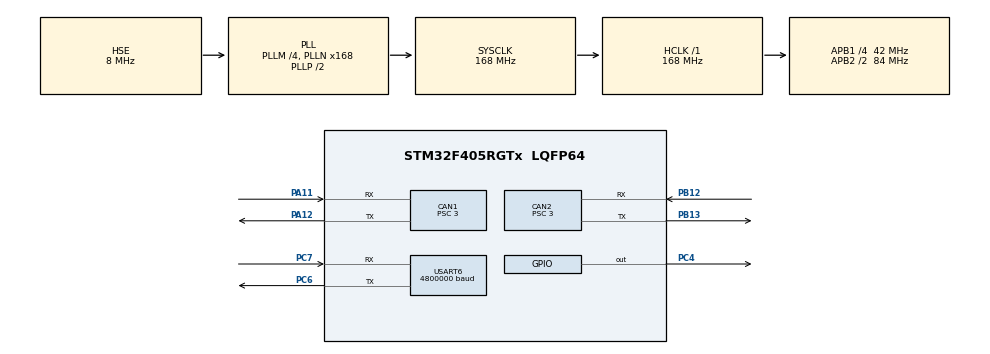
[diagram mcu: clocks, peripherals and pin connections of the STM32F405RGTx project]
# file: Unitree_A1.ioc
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CAN1.ABOM=ENABLE
CAN1.BS1=CAN_BS1_10TQ
CAN1.BS2=CAN_BS2_3TQ
CAN1.CalculateTimeQuantum=71.42857142857143
CAN1.Prescaler=3
CAN2.BS1=CAN_BS1_9TQ
CAN2.BS2=CAN_BS2_4TQ
CAN2.CalculateTimeQuantum=71.42857142857143
CAN2.Prescaler=3
Dma.Request0=USART6_RX
Dma.USART6_RX.0.Direction=DMA_PERIPH_TO_MEMORY
Dma.USART6_RX.0.FIFOMode=DMA_FIFOMODE_DISABLE
Dma.USART6_RX.0.Instance=DMA2_Stream1
Dma.USART6_RX.0.MemDataAlignment=DMA_MDATAALIGN_BYTE
Dma.USART6_RX.0.MemInc=DMA_MINC_ENABLE
Dma.USART6_RX.0.Mode=DMA_CIRCULAR
Dma.USART6_RX.0.PeriphDataAlignment=DMA_PDATAALIGN_BYTE
Dma.USART6_RX.0.PeriphInc=DMA_PINC_DISABLE
Dma.USART6_RX.0.Priority=DMA_PRIORITY_VERY_HIGH
Mcu.Family=STM32F4
Mcu.Name=STM32F405RGTx
Mcu.Package=LQFP64
NVIC.CAN1_RX0_IRQn=true\:0\:0\:false\:false\:true\:true\:true\:true
NVIC.CAN1_RX1_IRQn=true\:0\:0\:false\:false\:true\:true\:true\:true
NVIC.CAN1_SCE_IRQn=true\:0\:0\:false\:false\:true\:true\:true\:true
NVIC.CAN1_TX_IRQn=true\:0\:0\:false\:false\:true\:true\:true\:true
NVIC.CAN2_RX0_IRQn=true\:0\:0\:false\:false\:true\:true\:true\:true
NVIC.CAN2_RX1_IRQn=true\:0\:0\:false\:false\:true\:true\:true\:true
NVIC.CAN2_SCE_IRQn=true\:0\:0\:false\:false\:true\:true\:true\:true
NVIC.CAN2_TX_IRQn=true\:0\:0\:false\:false\:true\:true\:true\:true
NVIC.DMA2_Stream1_IRQn=true\:0\:0\:false\:false\:true\:false\:true\:true
NVIC.PriorityGroup=NVIC_PRIORITYGROUP_4
NVIC.TIM6_DAC_IRQn=true\:0\:0\:false\:false\:true\:true\:true\:true
NVIC.USART6_IRQn=true\:0\:0\:false\:false\:true\:true\:true\:true
PA11.Mode=Master
PA11.Signal=CAN1_RX
PA12.Mode=Master
PA12.Signal=CAN1_TX
PA13.Mode=Serial_Wire
PA13.Signal=SYS_JTMS-SWDIO
PA14.Mode=Serial_Wire
PA14.Signal=SYS_JTCK-SWCLK
PB10.Signal=USART3_TX
PB12.Mode=Slave
PB12.Signal=CAN2_RX
PB13.Mode=Slave
PB13.Signal=CAN2_TX
PC4.GPIO_Speed=GPIO_SPEED_FREQ_HIGH
PC4.Signal=GPIO_Output
PC6.Mode=Asynchronous
PC6.Signal=USART6_TX
PC7.Mode=Asynchronous
PC7.Signal=USART6_RX
PH0-OSC_IN.Mode=HSE-External-Oscillator
PH0-OSC_IN.Signal=RCC_OSC_IN
PH1-OSC_OUT.Mode=HSE-External-Oscillator
PH1-OSC_OUT.Signal=RCC_OSC_OUT
ProjectManager.HeapSize=0x200
ProjectManager.StackSize=0x400
ProjectManager.TargetToolchain=CMake
RCC.48MHZClocksFreq_Value=84000000
RCC.AHBFreq_Value=168000000
RCC.APB1CLKDivider=RCC_HCLK_DIV4
RCC.APB1Freq_Value=42000000
RCC.APB1TimFreq_Value=84000000
RCC.APB2CLKDivider=RCC_HCLK_DIV2
RCC.APB2Freq_Value=84000000
RCC.APB2TimFreq_Value=168000000
RCC.CortexFreq_Value=168000000
RCC.HCLKFreq_Value=168000000
RCC.HSE_VALUE=8000000
RCC.HSI_VALUE=16000000
RCC.LSE_VALUE=32768
RCC.PLLM=4
RCC.PLLN=168
RCC.PLLSourceVirtual=RCC_PLLSOURCE_HSE
RCC.SYSCLKFreq_VALUE=168000000
RCC.SYSCLKSource=RCC_SYSCLKSOURCE_PLLCLK
RCC.VCOOutputFreq_Value=336000000
TIM6.Period=4999
TIM6.Prescaler=83
USART6.BaudRate=4800000
USART6.VirtualMode=VM_ASYNC
VP_TIM6_VS_ClockSourceINT.Mode=Enable_Timer
board=custom

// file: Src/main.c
/* USER CODE BEGIN Header */
/**
 ******************************************************************************
 * @file           : main.c
 * @brief          : Main program body
 ******************************************************************************
 * @attention
 *
 * <h2><center>&copy; Copyright (c) 2026 STMicroelectronics.
 * All rights reserved.</center></h2>
 *
 * This software component is licensed by ST under BSD 3-Clause license,
 * the "License"; You may not use this file except in compliance with the
 * License. You may obtain a copy of the License at:
 *                        opensource.org/licenses/BSD-3-Clause
 *
 ******************************************************************************
 */
/* USER CODE END Header */

#include "main.h"
#include "can.h"
#include "dma.h"
#include "tim.h"
#include "usart.h"
#include "gpio.h"

/* USER CODE BEGIN Includes */
#include "unitree_motor.h"
/* USER CODE END Includes */

/* USER CODE BEGIN PV */
MotorCmd cmd;
/* USER CODE END PV */

void SystemClock_Config(void);

int main(void)
{
  /* USER CODE BEGIN 1 */
  HAL_RCC_DeInit();

  /* USER CODE END 1 */

  /* MCU Configuration--------------------------------------------------------*/

  /* Reset of all peripherals, Initializes the Flash interface and the Systick. */
  HAL_Init();

  /* Configure the system clock */
  SystemClock_Config();

  /* Initialize all configured peripherals */
  MX_GPIO_Init();
  MX_DMA_Init();
  MX_CAN1_Init();
  MX_CAN2_Init();
  MX_USART6_UART_Init();
  MX_TIM6_Init();
  HAL_TIM_Base_Start_IT(&htim6);
  /* USER CODE BEGIN 2 */
  Unitree_Init(&huart6);

  // 模拟 SDK 对象定义

  cmd.motorType = MotorType_A1;
  cmd.id = 2;               // 目标电机 ID
  cmd.mode = MotorMode_FOC; // 闭环 FOC 模式
  // cmd.tau = 0.0f;
  // cmd.dq = -3.14*queryGearRatio(MotorType_A1);
  // cmd.q = 0;
  // cmd.kp = 0.0f;
  // cmd.kd = 2.0f;

  // cmd.kp    = 0.1;
  // cmd.kd    = 2;
  // cmd.q     = 3*6.28*queryGearRatio(MotorType_A1);
  // cmd.dq    = -3.14*queryGearRatio(MotorType_A1);
  // cmd.tau   = 0.0f;

  cmd.tau = 0.0f;
  cmd.dq = 0;
  cmd.q = 0;
  cmd.kp = 0.0f;
  cmd.kd = 0.0f;
  Unitree_SendCmd(&cmd);
  // 发送指令 (只调用这一个函数)

  /* USER CODE END 2 */

  /* Infinite loop */
  while (1) {

  }
}

void SystemClock_Config(void)
{
  RCC_OscInitTypeDef RCC_OscInitStruct = {0};
  RCC_ClkInitTypeDef RCC_ClkInitStruct = {0};

  /** Configure the main internal regulator output voltage
  */
  __HAL_RCC_PWR_CLK_ENABLE();
  __HAL_PWR_VOLTAGESCALING_CONFIG(PWR_REGULATOR_VOLTAGE_SCALE1);
  /** Initializes the CPU, AHB and APB busses clocks
  */
  RCC_OscInitStruct.OscillatorType = RCC_OSCILLATORTYPE_HSE;
  RCC_OscInitStruct.HSEState = RCC_HSE_ON;
  RCC_OscInitStruct.PLL.PLLState = RCC_PLL_ON;
  RCC_OscInitStruct.PLL.PLLSource = RCC_PLLSOURCE_HSE;
  RCC_OscInitStruct.PLL.PLLM = 4;
  RCC_OscInitStruct.PLL.PLLN = 168;
  RCC_OscInitStruct.PLL.PLLP = RCC_PLLP_DIV2;
  RCC_OscInitStruct.PLL.PLLQ = 4;
  if (HAL_RCC_OscConfig(&RCC_OscInitStruct) != HAL_OK)
  {
    Error_Handler();
  }
  /** Initializes the CPU, AHB and APB busses clocks
  */
  RCC_ClkInitStruct.ClockType = RCC_CLOCKTYPE_HCLK|RCC_CLOCKTYPE_SYSCLK
                              |RCC_CLOCKTYPE_PCLK1|RCC_CLOCKTYPE_PCLK2;
  RCC_ClkInitStruct.SYSCLKSource = RCC_SYSCLKSOURCE_PLLCLK;
  RCC_ClkInitStruct.AHBCLKDivider = RCC_SYSCLK_DIV1;
  RCC_ClkInitStruct.APB1CLKDivider = RCC_HCLK_DIV4;
  RCC_ClkInitStruct.APB2CLKDivider = RCC_HCLK_DIV2;

  if (HAL_RCC_ClockConfig(&RCC_ClkInitStruct, FLASH_LATENCY_5) != HAL_OK)
  {
    Error_Handler();
  }
}

void Error_Handler(void)
{
}

#ifdef  USE_FULL_ASSERT
/**
  * @brief  Reports the name of the source file and the source line number
  *         where the assert_param error has occurred.
  * @param  file: pointer to the source file name
  * @param  line: assert_param error line source number
  * @retval None
  */
void assert_failed(uint8_t *file, uint32_t line)
{
  /* USER CODE BEGIN 6 */
  /* User can add his own implementation to report the file name and line
     number, tex: printf("Wrong parameters value: file %s on line %d\r\n", file,
     line) */
  /* USER CODE END 6 */
}
#endif /* USE_FULL_ASSERT */

/************************ (C) COPYRIGHT STMicroelectronics *****END OF FILE****/
